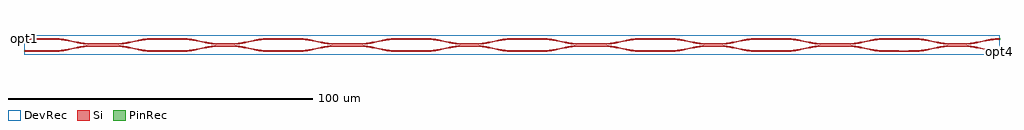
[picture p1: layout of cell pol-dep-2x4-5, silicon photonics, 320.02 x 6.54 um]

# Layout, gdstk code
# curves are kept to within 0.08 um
import gdstk
lib = gdstk.Library(unit=1e-6, precision=1e-09)
def R(c, l, rs):  # rectangles x0, y0, x1, y1
    for r in rs: c.add(gdstk.rectangle(r[:2], r[2:], *l))
def P(c, l, *ps):  # polygons
    for p in ps: c.add(gdstk.Polygon(p, *l))
Si = (1, 0)
PinRec = (1, 10)
DevRec = (68, 0)

layer_0_0_phase_sec_0_1_ = lib.new_cell('layer-0_0_phase_sec_0$1$1')
P(layer_0_0_phase_sec_0_1_, Si, [(6.467,-0.252),(0,-0.225),(0,0.225),(10,0.225),(10,-0.225)])

layer_0_0_phase_sec_2_1_ = lib.new_cell('layer-0_0_phase_sec_2$1$1')
P(layer_0_0_phase_sec_2_1_, Si, [(0,-0.225),(0,0.225),(10,0.225),(10,-0.225)])

layer_0_0_phase_sec_3_1_ = lib.new_cell('layer-0_0_phase_sec_3$1$1')
P(layer_0_0_phase_sec_3_1_, Si, [(3.246,-0.272),(0,-0.225),(0,0.225),(10,0.225),(10,-0.225)])

dc_arm_up_4_1_1 = lib.new_cell('dc_arm_up_4$1$1')
R(dc_arm_up_4_1_1, Si, [(12,0.1,16,0.55)])
P(dc_arm_up_4_1_1, Si, [(16,0.1),(16,0.55),(17.481,0.613),(18.966,0.793),(25.344,2.033),(26.861,2.188),(28,2.225),(28,1.775),(26.519,1.712),(25.034,1.532),(18.656,0.292),(17.139,0.137)],
  [(12,0.1),(10.861,0.137),(9.344,0.292),(2.966,1.532),(1.481,1.712),(0,1.775),(0,2.225),(1.139,2.188),(2.656,2.033),(9.034,0.793),(10.519,0.613),(12,0.55)])

dc_arm_down_4_1_1 = lib.new_cell('dc_arm_down_4$1$1')
R(dc_arm_down_4_1_1, Si, [(12,-0.55,16,-0.1)])
P(dc_arm_down_4_1_1, Si, [(28,-2.225),(26.861,-2.188),(25.344,-2.033),(18.966,-0.793),(17.481,-0.613),(16,-0.55),(16,-0.1),(17.139,-0.137),(18.656,-0.292),(25.034,-1.532),(26.519,-1.712),(28,-1.775)],
  [(0,-2.225),(0,-1.775),(1.481,-1.712),(2.966,-1.532),(9.344,-0.292),(10.861,-0.137),(12,-0.1),(12,-0.55),(10.519,-0.613),(9.034,-0.793),(2.656,-2.033),(1.139,-2.188)])

dc_4_1_1 = lib.new_cell('dc_4$1$1')
dc_4_1_1.add(gdstk.Reference(dc_arm_up_4_1_1, (0,0)))
dc_4_1_1.add(gdstk.Reference(dc_arm_down_4_1_1, (0,0)))

layer_1_0_phase_sec_0_1_ = lib.new_cell('layer-1_0_phase_sec_0$1$1')
P(layer_1_0_phase_sec_0_1_, Si, [(4.823,-0.227),(0,-0.225),(0,0.225),(10,0.225),(10,-0.225)])

layer_2_0_phase_sec_0_1_ = lib.new_cell('layer-2_0_phase_sec_0$1$1')
P(layer_2_0_phase_sec_0_1_, Si, [(0,-0.225),(0,0.225),(10,0.225),(10,-0.225)])

layer_2_0_phase_sec_1_1_ = lib.new_cell('layer-2_0_phase_sec_1$1$1')
P(layer_2_0_phase_sec_1_1_, Si, [(3.224,-0.243),(0,-0.225),(0,0.225),(10,0.225),(10,-0.225)])

layer_2_0_phase_sec_2_1_ = lib.new_cell('layer-2_0_phase_sec_2$1$1')
P(layer_2_0_phase_sec_2_1_, Si, [(3.236,-0.253),(0,-0.225),(0,0.225),(10,0.225),(10,-0.225)])

layer_2_0_phase_sec_3_1_ = lib.new_cell('layer-2_0_phase_sec_3$1$1')
P(layer_2_0_phase_sec_3_1_, Si, [(0,-0.225),(0,0.225),(10,0.225),(10,-0.225)])

layer_3_0_phase_sec_0_1_ = lib.new_cell('layer-3_0_phase_sec_0$1$1')
P(layer_3_0_phase_sec_0_1_, Si, [(0,-0.225),(0,0.225),(10,0.225),(10,-0.225)])

layer_1_0_phase_sec_1_1_ = lib.new_cell('layer-1_0_phase_sec_1$1$1')
P(layer_1_0_phase_sec_1_1_, Si, [(8.056,-0.24),(0,-0.225),(0,0.225),(10,0.225),(10,-0.225)])

layer_0_0_phase_sec_1_1_ = lib.new_cell('layer-0_0_phase_sec_1$1$1')
P(layer_0_0_phase_sec_1_1_, Si, [(8.082,-0.232),(0,-0.225),(0,0.225),(10,0.225),(10,-0.225)])

layer_3_0_phase_sec_1_1_ = lib.new_cell('layer-3_0_phase_sec_1$1$1')
P(layer_3_0_phase_sec_1_1_, Si, [(6.469,-0.257),(0,-0.225),(0,0.225),(10,0.225),(10,-0.225)])

layer_1_0_phase_sec_2_1_ = lib.new_cell('layer-1_0_phase_sec_2$1$1')
P(layer_1_0_phase_sec_2_1_, Si, [(3.258,-0.267),(0,-0.225),(0,0.225),(10,0.225),(10,-0.225)])

dc_arm_up_8_1_1 = lib.new_cell('dc_arm_up_8$1$1')
R(dc_arm_up_8_1_1, Si, [(12,0.1,20,0.55)])
P(dc_arm_up_8_1_1, Si, [(20,0.1),(20,0.55),(21.481,0.613),(22.966,0.793),(29.344,2.033),(30.861,2.188),(32,2.225),(32,1.775),(30.519,1.712),(29.034,1.532),(22.656,0.292),(21.139,0.137)],
  [(12,0.1),(10.861,0.137),(9.344,0.292),(2.966,1.532),(1.481,1.712),(0,1.775),(0,2.225),(1.139,2.188),(2.656,2.033),(9.034,0.793),(10.519,0.613),(12,0.55)])

dc_arm_down_8_1_1 = lib.new_cell('dc_arm_down_8$1$1')
R(dc_arm_down_8_1_1, Si, [(12,-0.55,20,-0.1)])
P(dc_arm_down_8_1_1, Si, [(32,-2.225),(30.861,-2.188),(29.344,-2.033),(22.966,-0.793),(21.481,-0.613),(20,-0.55),(20,-0.1),(21.139,-0.137),(22.656,-0.292),(29.034,-1.532),(30.519,-1.712),(32,-1.775)],
  [(0,-2.225),(0,-1.775),(1.481,-1.712),(2.966,-1.532),(9.344,-0.292),(10.861,-0.137),(12,-0.1),(12,-0.55),(10.519,-0.613),(9.034,-0.793),(2.656,-2.033),(1.139,-2.188)])

dc_8_1_1 = lib.new_cell('dc_8$1$1')
dc_8_1_1.add(gdstk.Reference(dc_arm_up_8_1_1, (0,0)))
dc_8_1_1.add(gdstk.Reference(dc_arm_down_8_1_1, (0,0)))

layer_3_0_phase_sec_2_1_ = lib.new_cell('layer-3_0_phase_sec_2$1$1')
P(layer_3_0_phase_sec_2_1_, Si, [(8.072,-0.241),(0,-0.225),(0,0.225),(10,0.225),(10,-0.225)])

layer_1_0_phase_sec_3_1_ = lib.new_cell('layer-1_0_phase_sec_3$1$1')
P(layer_1_0_phase_sec_3_1_, Si, [(0,-0.225),(0,0.225),(10,0.225),(10,-0.225)])

layer_3_0_phase_sec_3_1_ = lib.new_cell('layer-3_0_phase_sec_3$1$1')
P(layer_3_0_phase_sec_3_1_, Si, [(0,-0.225),(0,0.225),(10,0.225),(10,-0.225)])

pol_dep_2x4_5 = lib.new_cell('pol-dep-2x4-5')
R(pol_dep_2x4_5, DevRec, [(0,-1,320,5.539)])
pol_dep_2x4_5.add(gdstk.FlexPath([(319.99,0.272),(320.01,0.272)], 0.45, ends="flush", simple_path=True, layer=1, datatype=10))  # PinRec
pol_dep_2x4_5.add(gdstk.FlexPath([(319.99,4.272),(320.01,4.272)], 0.45, ends="flush", simple_path=True, layer=1, datatype=10))  # PinRec
pol_dep_2x4_5.add(gdstk.FlexPath([(0.01,0.272),(-0.01,0.272)], 0.45, ends="flush", simple_path=True, layer=1, datatype=10))  # PinRec
pol_dep_2x4_5.add(gdstk.FlexPath([(0.01,4.272),(-0.01,4.272)], 0.45, ends="flush", simple_path=True, layer=1, datatype=10))  # PinRec
pol_dep_2x4_5.add(gdstk.Reference(layer_0_0_phase_sec_0_1_, (0,4.272)))
pol_dep_2x4_5.add(gdstk.Reference(layer_0_0_phase_sec_2_1_, (42,4.272)))
pol_dep_2x4_5.add(gdstk.Reference(layer_0_0_phase_sec_3_1_, (42,0.272)))
pol_dep_2x4_5.add(gdstk.Reference(dc_4_1_1, (52,2.272)))
pol_dep_2x4_5.add(gdstk.Reference(dc_4_1_1, (132,2.272)))
pol_dep_2x4_5.add(gdstk.Reference(dc_4_1_1, (212,2.272)))
pol_dep_2x4_5.add(gdstk.Reference(dc_4_1_1, (292,2.272)))
pol_dep_2x4_5.add(gdstk.Reference(layer_1_0_phase_sec_0_1_, (80,4.272)))
pol_dep_2x4_5.add(gdstk.Reference(layer_2_0_phase_sec_0_1_, (160,4.272)))
pol_dep_2x4_5.add(gdstk.Reference(layer_2_0_phase_sec_1_1_, (160,0.272)))
pol_dep_2x4_5.add(gdstk.Reference(layer_2_0_phase_sec_2_1_, (202,4.272)))
pol_dep_2x4_5.add(gdstk.Reference(layer_2_0_phase_sec_3_1_, (202,0.272)))
pol_dep_2x4_5.add(gdstk.Reference(layer_3_0_phase_sec_0_1_, (240,4.272)))
pol_dep_2x4_5.add(gdstk.Reference(layer_1_0_phase_sec_1_1_, (80,0.272)))
pol_dep_2x4_5.add(gdstk.Reference(layer_0_0_phase_sec_1_1_, (0,0.272)))
pol_dep_2x4_5.add(gdstk.Reference(layer_3_0_phase_sec_1_1_, (240,0.272)))
pol_dep_2x4_5.add(gdstk.Reference(layer_1_0_phase_sec_2_1_, (122,4.272)))
pol_dep_2x4_5.add(gdstk.Reference(dc_8_1_1, (10,2.272)))
pol_dep_2x4_5.add(gdstk.Reference(dc_8_1_1, (90,2.272)))
pol_dep_2x4_5.add(gdstk.Reference(dc_8_1_1, (170,2.272)))
pol_dep_2x4_5.add(gdstk.Reference(dc_8_1_1, (250,2.272)))
pol_dep_2x4_5.add(gdstk.Reference(layer_3_0_phase_sec_2_1_, (282,4.272)))
pol_dep_2x4_5.add(gdstk.Reference(layer_1_0_phase_sec_3_1_, (122,0.272)))
pol_dep_2x4_5.add(gdstk.Reference(layer_3_0_phase_sec_3_1_, (282,0.272)))
pol_dep_2x4_5.add(gdstk.Label('opt4', (320,0.272), layer=1, texttype=10))
pol_dep_2x4_5.add(gdstk.Label('opt3', (320,4.272), layer=1, texttype=10))
pol_dep_2x4_5.add(gdstk.Label('opt1', (0,4.272), layer=1, texttype=10))
pol_dep_2x4_5.add(gdstk.Label('opt2', (0,0.272), layer=1, texttype=10))

lib.write_gds('pol-dep-2x4-5.gds')
